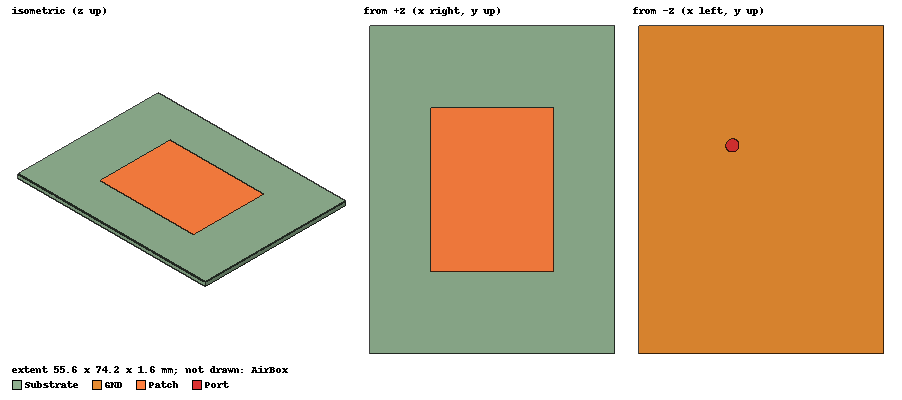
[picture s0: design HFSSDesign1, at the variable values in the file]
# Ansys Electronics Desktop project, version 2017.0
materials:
  vacuum: permittivity=1
  FR4_epoxy: permittivity=4.4 dielectric_loss_tangent=0.02
  pec: conductivity=1e+030

design HFSSDesign1 (HFSS, DrivenModal, model units mm)
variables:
  H = 1.6mm
  L0 = 27.8mm
  W0 = 37.1mm
  L1 = 6.5mm  # optimise 6mm..7mm
  length = 30mm
  L2 = 10mm
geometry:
  Substrate [FR4_epoxy] = box(corner=(-L0, -W0, 0), size=(2*L0, 2*W0, H))
  Patch = rectangle(corner=(-L0/2, -W0/2, H), x_size=L0, y_size=W0)
  GND = rectangle(corner=(-L0, -W0, 0mm), x_size=2*L0, y_size=2*W0)
  Feed [pec] = cylinder(axis=Z, base_centre=(L1, L2, 0mm), radius=0.6mm, height=H)
  Port = circle(normal=Z, centre=(L1, L2, 0mm), radius=1.5mm)
  Port_1 = Port.copy()
  GND.subtract(Port_1)
  AirBox [vacuum] = box(corner=(-L0/2-length, -W0/2-length, -10mm), size=(L0+2*length, W0+2*length, 10mm+H+length))
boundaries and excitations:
  PerfE1: Perfect E Objects=Patch
  PerfE2: Perfect E Objects=GND
  Rad1: Radiation Objects=AirBox
  1: Lumped Port Objects=Port Modes{Mode1{IntLine{Feed.vertex(1 of 2) -> Port.vertex(1 of 1)} CharImp=Zpi RenormImp=50ohm}} Impedance=50ohm
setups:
  Setup1: HfssDriven Frequency=2.45GHz MaxDeltaS=0.02 MaximumPasses=20 MinimumPasses=1 MinimumConvergedPasses=1 PercentRefinement=30 BasisOrder=1 PortAccuracy=2 RayDensityPerWavelength=4 MaxNumberOfBounces=5
    sweep Sweep1: 1.5GHz to 3GHz step 0.01GHz; Type=Fast SaveFields
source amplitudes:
  1:1: 1W 0deg
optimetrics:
  ParametricSetup1: Parametric Sim._Setups=[Setup1]
    sweep L0: LIN 27.5mm 28.5mm 0.1mm
    sweep W0: LIN 35mm 40mm 0.5mm
  ParametricSetup2: Parametric Sim._Setups=[Setup1]
    sweep L2: LIN 5mm 9mm 0.5mm
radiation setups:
  EH Plane: Infinite Sphere Theta=-180deg..180deg step 1deg Phi=0deg..90deg step 90deg
  3D: Infinite Sphere Theta=0deg..180deg step 2deg Phi=0deg..360deg step 2deg
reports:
  XY Plot 1: dB(S(1,1)) vs Freq on Setup1 : Sweep1 [L0=27.8mm W0=37.1mm L2=all]
  XY Plot 2: re(Z(1,1)), im(Z(1,1)) vs Freq on Setup1 : Sweep1 [L0=27.8mm W0=37.1mm]; markers m1 at 1.9GHz, m2 at 1.9GHz
  XY Plot 3: re(Z(1,1)), im(Z(1,1)) vs L2 on Setup1 : Sweep1 [L0=27.8mm W0=37.1mm Freq=1.9GHz]; markers MX1 at x=0.0070829069
  XY Plot 4: dB(S(1,1)) vs Freq on Setup1 : Sweep1 [L0=27.8mm W0=37.1mm L2=7.08mm]; markers m1 at 1.9GHz, m2 at 2.45GHz
  Smith Chart 1: S(1,1) on Setup1 : Sweep1 [Freq=all L0=27.8mm W0=37.1mm L2=7.08mm]; markers m1 at 2.45GHz, m2 at 1.9GHz
  Radiation Pattern 1: dB(GainTotal) vs Theta on Setup1 : LastAdaptive, EH Plane [Phi=all Freq=2.45GHz L0=27.8mm W0=37.1mm L2=7.08mm]; markers m1 at 0deg
  3D Polar Plot 1: dB(GainTotal) vs Phi, Theta on Setup1 : LastAdaptive, 3D [Freq=2.45GHz L0=27.8mm W0=37.1mm L2=7.08mm]
  Radiation Pattern 2: dB(GainTotal) vs Theta on Setup1 : LastAdaptive, EH Plane [Phi=all Freq=1.9GHz L0=27.8mm W0=37.1mm L2=7.08mm]; markers m1 at 0deg
  3D Polar Plot 2: dB(GainTotal) vs Phi, Theta on Setup1 : LastAdaptive, 3D [Freq=1.9GHz L0=27.8mm W0=37.1mm L2=7.08mm]
